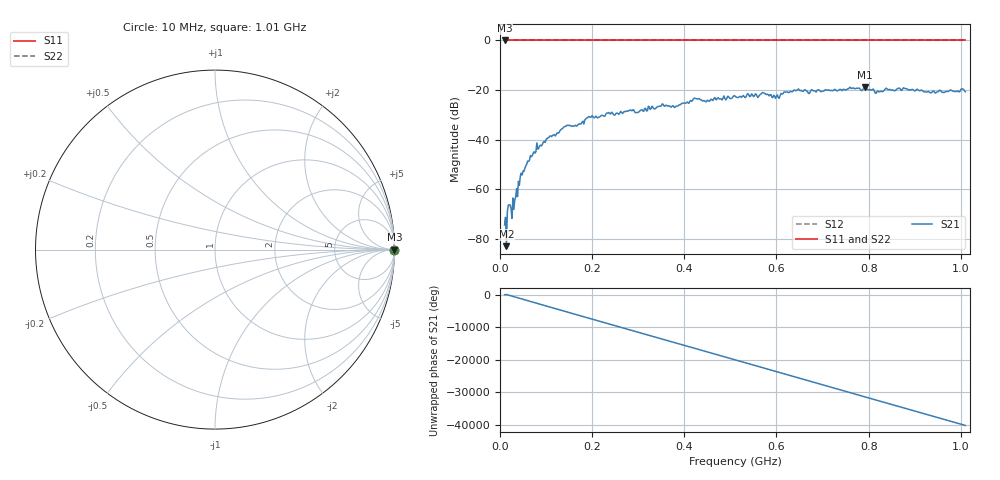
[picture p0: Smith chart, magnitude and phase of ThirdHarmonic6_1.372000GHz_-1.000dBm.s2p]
! 8/16/2025 3:33:06 PM
! C:\ANRITSUVNA\TEMP\TEMP.S2P
! CHANNEL.1
! TR.MEASUREMENT
! RAW.DATA
! RF.CORRECTION.OFF
! AVERAGING.OFF
! IF.BANDWIDTH: 5KHZ
! SWEEPTYPE:  FREQ.SWEEP(Linear)
! Reference Plane Port Info
! PORT:  PORT1  PORT2
! DISTANCE:  0  m  0  m
! TIME:  0  s  0  s
! PHASE.OFFSET:  0  deg.  0  deg.
! LOSS:  0  dB  0  dB
! REF.LOSS:  0  dB  0  dB
! REF.FREQ:  0  Hz  0  Hz
! Power Info
! POWER:  -20  dBm  -20  dBm
! EFF.POWER:  -20  dBm  -20  dBm
! SOURCE.ATTEN:  0  dB  0  dB
! TEST.ATTEN:  0  dB  0  dB
# GHZ S RI R 50.0
! FREQ.GHZ  S11RE  S11IM  S21RE  S21IM  S12RE  S12IM  S22RE  S22IM
!; PortSelection: Port_12
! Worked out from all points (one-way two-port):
!   501 points, 10 MHz to 1.01 GHz, reference 50 ohm
!   highest |S21| = -18.83 dB at 792 MHz (marker M1); lowest = -82.9 dB at 14 MHz (marker M2)
!   lowest |S11| = 0.0 dB at 10 MHz (marker M3)
!   |S11| at or under -10 dB: nowhere
!   |S22| runs from 0.0 to 0.0 dB; largest |S21 - S12| = 1.1
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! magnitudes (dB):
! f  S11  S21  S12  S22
! 10 MHz  0.0  -74.3  0.0  0.0
! 14 MHz  0.0  -82.9  0.0  0.0
! 20 MHz  0.0  -66.2  0.0  0.0
! 30 MHz  0.0  -68.1  0.0  0.0
! 48 MHz  0.0  -54.2  0.0  0.0
! 76 MHz  0.0  -45.4  0.0  0.0
! 142 MHz  0.0  -34.6  0.0  0.0
! 178 MHz  0.0  -32.9  0.0  0.0
! 196 MHz  0.0  -30.9  0.0  0.0
! 344 MHz  0.0  -26.5  0.0  0.0
! 382 MHz  0.0  -26.4  0.0  0.0
! 424 MHz  0.0  -23.3  0.0  0.0
! 450 MHz  0.0  -24.1  0.0  0.0
! 510 MHz  0.0  -22.4  0.0  0.0
! 572 MHz  0.0  -21.1  0.0  0.0
! 602 MHz  0.0  -21.9  0.0  0.0
! 644 MHz  0.0  -20.1  0.0  0.0
! 678 MHz  0.0  -20.0  0.0  0.0
! 792 MHz  0.0  -18.8  0.0  0.0
! 818 MHz  0.0  -20.7  0.0  0.0
! 844 MHz  0.0  -19.8  0.0  0.0
! 1.01 GHz  0.0  -20.6  0.0  0.0
